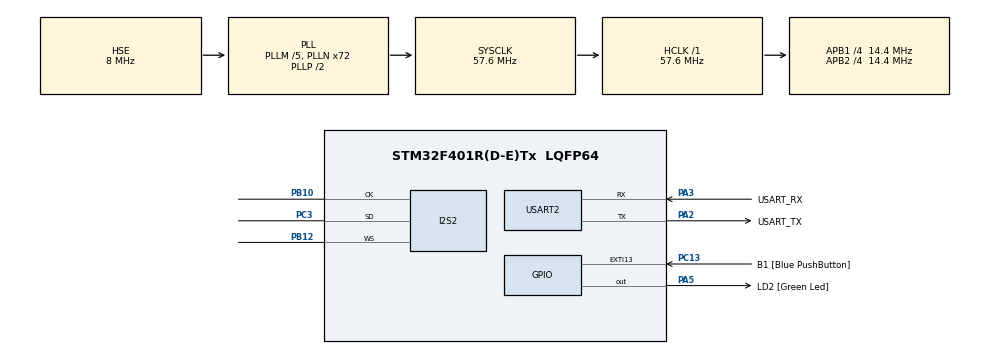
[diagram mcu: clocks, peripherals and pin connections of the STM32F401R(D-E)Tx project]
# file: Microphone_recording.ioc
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Dma.Request0=SPI2_RX
Dma.SPI2_RX.0.Direction=DMA_PERIPH_TO_MEMORY
Dma.SPI2_RX.0.FIFOMode=DMA_FIFOMODE_DISABLE
Dma.SPI2_RX.0.Instance=DMA1_Stream3
Dma.SPI2_RX.0.MemDataAlignment=DMA_MDATAALIGN_BYTE
Dma.SPI2_RX.0.MemInc=DMA_MINC_ENABLE
Dma.SPI2_RX.0.Mode=DMA_CIRCULAR
Dma.SPI2_RX.0.PeriphDataAlignment=DMA_PDATAALIGN_BYTE
Dma.SPI2_RX.0.PeriphInc=DMA_PINC_DISABLE
Dma.SPI2_RX.0.Priority=DMA_PRIORITY_LOW
I2S2.AudioFreq=I2S_AUDIOFREQ_32K
I2S2.DataFormat=I2S_DATAFORMAT_24B
I2S2.ErrorAudioFreq=0.44 %
I2S2.FullDuplexMode=I2S_FULLDUPLEXMODE_DISABLE
I2S2.Instance=SPI$Index
I2S2.Mode=I2S_MODE_MASTER_RX
I2S2.RealAudioFreq=32.142 KHz
I2S2.Standard=I2S_STANDARD_MSB
I2S2.VirtualMode=I2S_MODE_MASTER
Mcu.Family=STM32F4
Mcu.Name=STM32F401R(D-E)Tx
Mcu.Package=LQFP64
NVIC.DMA1_Stream3_IRQn=true\:0\:0\:false\:false\:true\:false\:true
NVIC.PriorityGroup=NVIC_PRIORITYGROUP_4
PA13.GPIO_Label=TMS
PA13.Mode=Serial_Wire
PA13.Signal=SYS_JTMS-SWDIO
PA14.GPIO_Label=TCK
PA14.Mode=Serial_Wire
PA14.Signal=SYS_JTCK-SWCLK
PA2.GPIO_Label=USART_TX
PA2.GPIO_Mode=GPIO_MODE_AF_PP
PA2.GPIO_PuPd=GPIO_NOPULL
PA2.GPIO_Speed=GPIO_SPEED_FREQ_LOW
PA2.Mode=Asynchronous
PA2.Signal=USART2_TX
PA3.GPIO_Label=USART_RX
PA3.GPIO_Mode=GPIO_MODE_AF_PP
PA3.GPIO_PuPd=GPIO_NOPULL
PA3.GPIO_Speed=GPIO_SPEED_FREQ_LOW
PA3.Mode=Asynchronous
PA3.Signal=USART2_RX
PA5.GPIO_Label=LD2 [Green Led]
PA5.GPIO_Mode=GPIO_MODE_OUTPUT_PP
PA5.GPIO_PuPd=GPIO_NOPULL
PA5.GPIO_Speed=GPIO_SPEED_FREQ_LOW
PA5.Signal=GPIO_Output
PB10.Mode=Half_Duplex_Master
PB10.Signal=I2S2_CK
PB12.Mode=Half_Duplex_Master
PB12.Signal=I2S2_WS
PB3.GPIO_Label=SWO
PB3.Signal=SYS_JTDO-SWO
PC13-ANTI_TAMP.GPIO_Label=B1 [Blue PushButton]
PC13-ANTI_TAMP.GPIO_ModeDefaultEXTI=GPIO_MODE_IT_FALLING
PC13-ANTI_TAMP.GPIO_PuPd=GPIO_NOPULL
PC13-ANTI_TAMP.Signal=GPXTI13
PC14-OSC32_IN.Mode=LSE-External-Oscillator
PC14-OSC32_IN.Signal=RCC_OSC32_IN
PC15-OSC32_OUT.Mode=LSE-External-Oscillator
PC15-OSC32_OUT.Signal=RCC_OSC32_OUT
PC3.Mode=Half_Duplex_Master
PC3.Signal=I2S2_SD
PH0\ -\ OSC_IN.Mode=HSE-External-Clock-Source
PH0\ -\ OSC_IN.Signal=RCC_OSC_IN
PH1\ -\ OSC_OUT.Mode=HSE-External-Clock-Source
PH1\ -\ OSC_OUT.Signal=RCC_OSC_OUT
ProjectManager.HeapSize=0x200
ProjectManager.StackSize=0x400
ProjectManager.TargetToolchain=STM32CubeIDE
RCC.48MHZClocksFreq_Value=38400000
RCC.AHBFreq_Value=57600000
RCC.APB1CLKDivider=RCC_HCLK_DIV4
RCC.APB1Freq_Value=14400000
RCC.APB1TimFreq_Value=28800000
RCC.APB2CLKDivider=RCC_HCLK_DIV4
RCC.APB2Freq_Value=14400000
RCC.APB2TimFreq_Value=28800000
RCC.CortexFreq_Value=57600000
RCC.HCLKFreq_Value=57600000
RCC.HSE_VALUE=8000000
RCC.HSI_VALUE=16000000
RCC.PLLI2SN=63
RCC.PLLI2SR=7
RCC.PLLM=5
RCC.PLLN=72
RCC.PLLQ=3
RCC.PLLSourceVirtual=RCC_PLLSOURCE_HSE
RCC.SYSCLKFreq_VALUE=57600000
RCC.SYSCLKSource=RCC_SYSCLKSOURCE_PLLCLK
RCC.VCOOutputFreq_Value=115200000
USART2.VirtualMode=VM_ASYNC
board=NUCLEO-F401RE

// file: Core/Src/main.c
/* USER CODE BEGIN Header */
/**
 ******************************************************************************
 * @file           : main.c
 * @brief          : Main program body
 ******************************************************************************
 * @attention
 *
 * <h2><center>&copy; Copyright (c) 2021 STMicroelectronics.
 * All rights reserved.</center></h2>
 *
 * This software component is licensed by ST under Ultimate Liberty license
 * SLA0044, the "License"; You may not use this file except in compliance with
 * the License. You may obtain a copy of the License at:
 *                             www.st.com/SLA0044
 *
 ******************************************************************************
 */
/* USER CODE END Header */
#include "main.h"
#include "dma.h"
#include "i2s.h"
#include "usart.h"
#include "gpio.h"

/* USER CODE BEGIN PV */
#define SAMPLES 2
uint16_t micSample[SAMPLES];
volatile int32_t convertedSample;
volatile int32_t filteredSample;
float l_a0, l_a1, l_a2, l_b1, l_b2, l_inz1, l_inz2, l_outz1, l_outz2;
volatile uint32_t ind;
/* USER CODE END PV */

void SystemClock_Config(void);

/* USER CODE BEGIN 0 */
int Calc_IIR(int inSample) {
	float inSampleF = (float) inSample;
	float outSampleF = l_a0 * inSampleF + l_a1 * l_inz1 + l_a2 * l_inz2
			- l_b1 * l_outz1 - l_b2 * l_outz2;
	l_inz2 = l_inz1;
	l_inz1 = inSampleF;
	l_outz2 = l_outz1;
	l_outz1 = outSampleF;

	return (int) outSampleF;
}
/* USER CODE END 0 */

int main(void) {

	/* MCU Configuration--------------------------------------------------------*/

	/* Reset of all peripherals, Initializes the Flash interface and the Systick. */
	HAL_Init();

	/* Configure the system clock */
	SystemClock_Config();

	/* Initialize all configured peripherals */
	MX_GPIO_Init();
	MX_DMA_Init();
	MX_USART2_UART_Init();
	MX_I2S2_Init();
	/* USER CODE BEGIN 2 */
	l_a0 = 0.03403337120987255;
	l_a1 = 0;
	l_a2 = -0.03403337120987255;
	l_b1 = -1.3708149190500825;
	l_b2 = 0.9319332575802548;
	HAL_I2S_Receive_DMA(&hi2s2, micSample, sizeof(micSample));
	/* USER CODE END 2 */

	/* Infinite loop */
	while (1) {

	}
}

void SystemClock_Config(void) {
	RCC_OscInitTypeDef RCC_OscInitStruct = { 0 };
	RCC_ClkInitTypeDef RCC_ClkInitStruct = { 0 };
	RCC_PeriphCLKInitTypeDef PeriphClkInitStruct = { 0 };

	/** Configure the main internal regulator output voltage
	 */
	__HAL_RCC_PWR_CLK_ENABLE();
	__HAL_PWR_VOLTAGESCALING_CONFIG(PWR_REGULATOR_VOLTAGE_SCALE2);
	/** Initializes the RCC Oscillators according to the specified parameters
	 * in the RCC_OscInitTypeDef structure.
	 */
	RCC_OscInitStruct.OscillatorType = RCC_OSCILLATORTYPE_HSE;
	RCC_OscInitStruct.HSEState = RCC_HSE_BYPASS;
	RCC_OscInitStruct.PLL.PLLState = RCC_PLL_ON;
	RCC_OscInitStruct.PLL.PLLSource = RCC_PLLSOURCE_HSE;
	RCC_OscInitStruct.PLL.PLLM = 5;
	RCC_OscInitStruct.PLL.PLLN = 72;
	RCC_OscInitStruct.PLL.PLLP = RCC_PLLP_DIV2;
	RCC_OscInitStruct.PLL.PLLQ = 3;
	if (HAL_RCC_OscConfig(&RCC_OscInitStruct) != HAL_OK) {
		Error_Handler();
	}
	/** Initializes the CPU, AHB and APB buses clocks
	 */
	RCC_ClkInitStruct.ClockType = RCC_CLOCKTYPE_HCLK | RCC_CLOCKTYPE_SYSCLK
			| RCC_CLOCKTYPE_PCLK1 | RCC_CLOCKTYPE_PCLK2;
	RCC_ClkInitStruct.SYSCLKSource = RCC_SYSCLKSOURCE_PLLCLK;
	RCC_ClkInitStruct.AHBCLKDivider = RCC_SYSCLK_DIV1;
	RCC_ClkInitStruct.APB1CLKDivider = RCC_HCLK_DIV4;
	RCC_ClkInitStruct.APB2CLKDivider = RCC_HCLK_DIV4;

	if (HAL_RCC_ClockConfig(&RCC_ClkInitStruct, FLASH_LATENCY_1) != HAL_OK) {
		Error_Handler();
	}
	PeriphClkInitStruct.PeriphClockSelection = RCC_PERIPHCLK_I2S;
	PeriphClkInitStruct.PLLI2S.PLLI2SN = 63;
	PeriphClkInitStruct.PLLI2S.PLLI2SR = 7;
	if (HAL_RCCEx_PeriphCLKConfig(&PeriphClkInitStruct) != HAL_OK) {
		Error_Handler();
	}
}

/* USER CODE BEGIN 4 */
void HAL_I2S_RxCpltCallback(I2S_HandleTypeDef *hi2s2) {
	convertedSample = (int32_t)((micSample[0] << 16) | micSample[1]);
	filteredSample = Calc_IIR(convertedSample);
	ind++;
	if (ind > 100000000){
		ind=0;
	}

}

/* USER CODE END 4 */

void Error_Handler(void) {
	__disable_irq();
	while (1) {
	}
}

/************************ (C) COPYRIGHT STMicroelectronics *****END OF FILE****/
